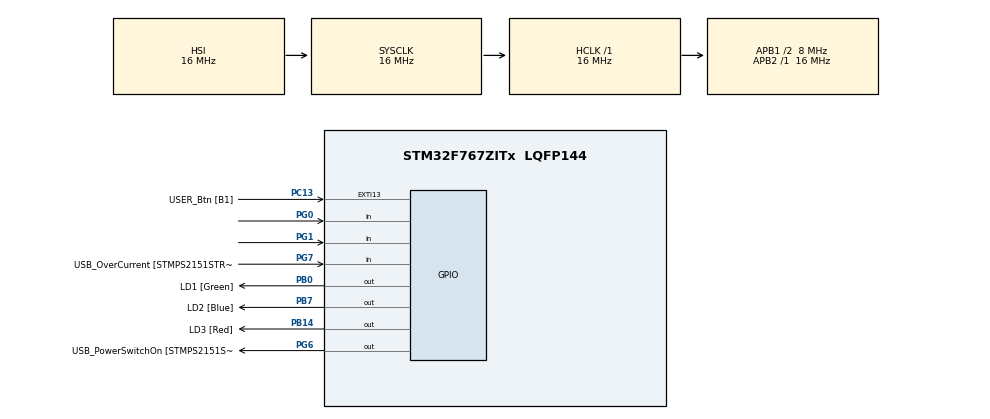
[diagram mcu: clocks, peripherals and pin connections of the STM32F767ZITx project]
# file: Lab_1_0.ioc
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CORTEX_M7.default_mode_Activation=1
Mcu.Family=STM32F7
Mcu.Name=STM32F767ZITx
Mcu.Package=LQFP144
NVIC.PriorityGroup=NVIC_PRIORITYGROUP_4
PA1.GPIO_Label=RMII_REF_CLK [LAN8742A-CZ-TR_REFCLK0]
PA1.Signal=ETH_REF_CLK
PA10.GPIO_Label=USB_ID
PA10.Signal=USB_OTG_FS_ID
PA11.GPIO_Label=USB_DM
PA11.Signal=USB_OTG_FS_DM
PA12.GPIO_Label=USB_DP
PA12.Signal=USB_OTG_FS_DP
PA13.GPIO_Label=TMS
PA13.Signal=SYS_JTMS-SWDIO
PA14.GPIO_Label=TCK
PA14.Signal=SYS_JTCK-SWCLK
PA2.GPIO_Label=RMII_MDIO [LAN8742A-CZ-TR_MDIO]
PA2.Signal=ETH_MDIO
PA7.GPIO_Label=RMII_CRS_DV [LAN8742A-CZ-TR_CRS_DV]
PA7.Signal=ETH_CRS_DV
PA8.GPIO_Label=USB_SOF [TP1]
PA8.Signal=USB_OTG_FS_SOF
PA9.GPIO_Label=USB_VBUS
PA9.Signal=USB_OTG_FS_VBUS
PB0.GPIO_Label=LD1 [Green]
PB0.Signal=GPIO_Output
PB13.GPIO_Label=RMII_TXD1 [LAN8742A-CZ-TR_TXD1]
PB13.Signal=ETH_TXD1
PB14.GPIO_Label=LD3 [Red]
PB14.Signal=GPIO_Output
PB3.GPIO_Label=SW0
PB3.Signal=SYS_JTDO-SWO
PB7.GPIO_Label=LD2 [Blue]
PB7.Signal=GPIO_Output
PC1.GPIO_Label=RMII_MDC [LAN8742A-CZ-TR_MDC]
PC1.Signal=ETH_MDC
PC13.GPIO_Label=USER_Btn [B1]
PC13.Signal=GPXTI13
PC14/OSC32_IN.Signal=RCC_OSC32_IN
PC15/OSC32_OUT.Signal=RCC_OSC32_OUT
PC4.GPIO_Label=RMII_RXD0 [LAN8742A-CZ-TR_RXD0]
PC4.Signal=ETH_RXD0
PC5.GPIO_Label=RMII_RXD1 [LAN8742A-CZ-TR_RXD1]
PC5.Signal=ETH_RXD1
PD8.GPIO_Label=STLK_RX [STM32F103CBT6_PA3]
PD8.Signal=USART3_TX
PD9.GPIO_Label=STLK_TX [STM32F103CBT6_PA2]
PD9.Signal=USART3_RX
PG0.Signal=GPIO_Input
PG1.Signal=GPIO_Input
PG11.GPIO_Label=RMII_TX_EN [LAN8742A-CZ-TR_TXEN]
PG11.Signal=ETH_TX_EN
PG13.GPIO_Label=RMII_TXD0 [LAN8742A-CZ-TR_TXD0]
PG13.Signal=ETH_TXD0
PG6.GPIO_Label=USB_PowerSwitchOn [STMPS2151STR_EN]
PG6.Signal=GPIO_Output
PG7.GPIO_Label=USB_OverCurrent [STMPS2151STR_FAULT]
PG7.Signal=GPIO_Input
PH0/OSC_IN.GPIO_Label=MCO [STM32F103CBT6_PA8]
PH0/OSC_IN.Signal=RCC_OSC_IN
PH1/OSC_OUT.Signal=RCC_OSC_OUT
ProjectManager.HeapSize=0x200
ProjectManager.StackSize=0x400
ProjectManager.TargetToolchain=STM32CubeIDE
RCC.48MHZClocksFreq_Value=24000000
RCC.AHBFreq_Value=16000000
RCC.APB1CLKDivider=RCC_HCLK_DIV2
RCC.APB1Freq_Value=8000000
RCC.APB1TimFreq_Value=16000000
RCC.APB2Freq_Value=16000000
RCC.APB2TimFreq_Value=16000000
RCC.CortexFreq_Value=16000000
RCC.HCLKFreq_Value=16000000
RCC.HSE_VALUE=16000000
RCC.HSI_VALUE=16000000
RCC.LSE_VALUE=32768
RCC.PLLMUL=RCC_PLL_MUL9
RCC.PRESCALERUSB=RCC_USBCLKSOURCE_PLL_DIV1_5
RCC.SYSCLKFreq_VALUE=16000000
RCC.SYSCLKSourceVirtual=RCC_SYSCLKSOURCE_PLLCLK
RCC.USBFreq_Value=96000000
RCC.VCOOutputFreq_Value=192000000
board=NUCLEO-F767ZI

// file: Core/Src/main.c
/* USER CODE BEGIN Header */
/**
  ******************************************************************************
  * @file           : main.c
  * @brief          : Main program body
  ******************************************************************************
  * @attention
  *
  * Copyright (c) 2026 STMicroelectronics.
  * All rights reserved.
  *
  * This software is licensed under terms that can be found in the LICENSE file
  * in the root directory of this software component.
  * If no LICENSE file comes with this software, it is provided AS-IS.
  *
  ******************************************************************************
  */
/* USER CODE END Header */
#include "main.h"

/* USER CODE BEGIN Includes */
#include <stdio.h>
#include <math.h>
/* USER CODE END Includes */

/* USER CODE BEGIN PD */
#define ENC_PORT        GPIOG
#define ENC_PIN_A       GPIO_PIN_0   // A = PG0
#define ENC_PIN_B       GPIO_PIN_1   // B = PG1

#define ENCODER_CPR_4X  80

#define PRINT_PERIOD_MS 20
#define PI_F            3.14159265358979323846f

/* USER CODE END PD */

/* USER CODE BEGIN PV */

volatile uint8_t A = 0;
volatile uint8_t B = 0;

volatile int32_t enc_count4x = 0;   // счётчик по каждому валидному переходу (4x)
volatile int32_t enc_detent  = 0;   // счётчик "щелчков" (детенты)
volatile uint32_t enc_invalid = 0;  // количество невалидных переходов (обычно из-за дребезга)

static uint8_t enc_prev = 0;        // предыдущее состояние AB (2 бита)
static int8_t  enc_accum = 0;       // накопитель до 4 переходов

/* USER CODE END PV */

void SystemClock_Config(void);
static void MPU_Config(void);
static void MX_GPIO_Init(void);

/* USER CODE BEGIN 0 */
static inline uint8_t enc_read_ab(void)
{
  uint32_t idr = ENC_PORT->IDR;
  uint8_t a = (idr & ENC_PIN_A) ? 1u : 0u;
  uint8_t b = (idr & ENC_PIN_B) ? 1u : 0u;
  A = a; B = b;                    // чтобы можно было смотреть в дебаге
  return (uint8_t)((a << 1) | b);  // AB = [A B]
}

static int32_t encoder_angle_mdeg_from_count4x(int32_t count4x)
{
  // миллиградусы (0.001°), чтобы не использовать float
  return (int32_t)((int64_t)count4x * 360000LL / (int64_t)ENCODER_CPR_4X);
}

static void encoder_init(void)
{
  enc_prev = enc_read_ab();
  enc_count4x = 0;
  enc_detent = 0;
  enc_invalid = 0;
  enc_accum = 0;
}

// Таблица переходов (prev<<2 | curr) -> delta
// +1/-1 для валидных соседних переходов, 0 для "нет движения/невалидно"
static inline int8_t enc_delta(uint8_t prev, uint8_t curr)
{
  static const int8_t tbl[16] = {
     0, +1, -1,  0,
    -1,  0,  0, +1,
    +1,  0,  0, -1,
     0, -1, +1,  0
  };
  return tbl[((prev & 0x3u) << 2) | (curr & 0x3u)];
}

static void encoder_on_edge(void)
{
  uint8_t curr = enc_read_ab();
  uint8_t prev = enc_prev;

  if (curr != prev)
  {
    int8_t d = enc_delta(prev, curr);

    if (d != 0)
    {
      enc_count4x += d;

      // “детент” = 4 последовательных валидных перехода
      enc_accum += d;
      if (enc_accum >= 4)  { enc_detent++; enc_accum = 0; }
      if (enc_accum <= -4) { enc_detent--; enc_accum = 0; }
    }
    else
    {
      enc_invalid++;
    }

    enc_prev = curr;
  }
}

// printf -> SWV/ITM (CubeIDE: SWV ITM Data Console)
int _write(int file, char *ptr, int len)
{
  (void)file;
  for (int i = 0; i < len; i++) {
    ITM_SendChar((uint32_t)ptr[i]);
  }
  return len;
}

// HAL callback от EXTI
void HAL_GPIO_EXTI_Callback(uint16_t GPIO_Pin)
{
  if (GPIO_Pin == ENC_PIN_A || GPIO_Pin == ENC_PIN_B) {
    encoder_on_edge();
  }
}

/* USER CODE END 0 */

int main(void)
{

  /* MPU Configuration--------------------------------------------------------*/
  MPU_Config();
  encoder_init();
  /* MCU Configuration--------------------------------------------------------*/

  /* Reset of all peripherals, Initializes the Flash interface and the Systick. */
  HAL_Init();

  /* Configure the system clock */
  SystemClock_Config();

  /* Initialize all configured peripherals */
  MX_GPIO_Init();

  /* Infinite loop */
  while (1)
  {

    /* USER CODE BEGIN 3 */
	static uint32_t last_print = 0;

	uint32_t now = HAL_GetTick();
	if (now - last_print >= PRINT_PERIOD_MS)
	{
	last_print = now;

	int32_t c4, det;
	uint32_t inv;

	__disable_irq();
	c4  = enc_count4x;
	det = enc_detent;
	inv = enc_invalid;
	__enable_irq();

	int32_t ang_mdeg = encoder_angle_mdeg_from_count4x(c4);

	// CSV: time_ms,count4x,detent,angle_mdeg,invalid
	printf("%lu,%ld,%ld,%ld,%lu\r\n",
	       (unsigned long)now, (long)c4, (long)det, (long)ang_mdeg, (unsigned long)inv);

	}

  }
  /* USER CODE END 3 */
}

void SystemClock_Config(void)
{
  RCC_OscInitTypeDef RCC_OscInitStruct = {0};
  RCC_ClkInitTypeDef RCC_ClkInitStruct = {0};

  /** Configure the main internal regulator output voltage
  */
  __HAL_RCC_PWR_CLK_ENABLE();
  __HAL_PWR_VOLTAGESCALING_CONFIG(PWR_REGULATOR_VOLTAGE_SCALE3);

  /** Initializes the RCC Oscillators according to the specified parameters
  * in the RCC_OscInitTypeDef structure.
  */
  RCC_OscInitStruct.OscillatorType = RCC_OSCILLATORTYPE_HSI;
  RCC_OscInitStruct.HSIState = RCC_HSI_ON;
  RCC_OscInitStruct.HSICalibrationValue = RCC_HSICALIBRATION_DEFAULT;
  RCC_OscInitStruct.PLL.PLLState = RCC_PLL_NONE;
  if (HAL_RCC_OscConfig(&RCC_OscInitStruct) != HAL_OK)
  {
    Error_Handler();
  }

  /** Initializes the CPU, AHB and APB buses clocks
  */
  RCC_ClkInitStruct.ClockType = RCC_CLOCKTYPE_HCLK|RCC_CLOCKTYPE_SYSCLK
                              |RCC_CLOCKTYPE_PCLK1|RCC_CLOCKTYPE_PCLK2;
  RCC_ClkInitStruct.SYSCLKSource = RCC_SYSCLKSOURCE_HSI;
  RCC_ClkInitStruct.AHBCLKDivider = RCC_SYSCLK_DIV1;
  RCC_ClkInitStruct.APB1CLKDivider = RCC_HCLK_DIV2;
  RCC_ClkInitStruct.APB2CLKDivider = RCC_HCLK_DIV1;

  if (HAL_RCC_ClockConfig(&RCC_ClkInitStruct, FLASH_LATENCY_0) != HAL_OK)
  {
    Error_Handler();
  }
}

static void MX_GPIO_Init(void)
{
  GPIO_InitTypeDef GPIO_InitStruct = {0};

  /* GPIO Ports Clock Enable */
  __HAL_RCC_GPIOC_CLK_ENABLE();
  __HAL_RCC_GPIOH_CLK_ENABLE();
  __HAL_RCC_GPIOA_CLK_ENABLE();
  __HAL_RCC_GPIOB_CLK_ENABLE();
  __HAL_RCC_GPIOG_CLK_ENABLE();
  __HAL_RCC_GPIOD_CLK_ENABLE();

  /*Configure GPIO pin Output Level */
  HAL_GPIO_WritePin(GPIOB, LD1_Pin|LD3_Pin|LD2_Pin, GPIO_PIN_RESET);

  /*Configure GPIO pin Output Level */
  HAL_GPIO_WritePin(USB_PowerSwitchOn_GPIO_Port, USB_PowerSwitchOn_Pin, GPIO_PIN_RESET);

  /*Configure GPIO pin : USER_Btn_Pin */
  GPIO_InitStruct.Pin = USER_Btn_Pin;
  GPIO_InitStruct.Mode = GPIO_MODE_IT_RISING;
  GPIO_InitStruct.Pull = GPIO_NOPULL;
  HAL_GPIO_Init(USER_Btn_GPIO_Port, &GPIO_InitStruct);

  /*Configure GPIO pins : RMII_MDC_Pin RMII_RXD0_Pin RMII_RXD1_Pin */
  GPIO_InitStruct.Pin = RMII_MDC_Pin|RMII_RXD0_Pin|RMII_RXD1_Pin;
  GPIO_InitStruct.Mode = GPIO_MODE_AF_PP;
  GPIO_InitStruct.Pull = GPIO_NOPULL;
  GPIO_InitStruct.Speed = GPIO_SPEED_FREQ_HIGH;
  GPIO_InitStruct.Alternate = GPIO_AF11_ETH;
  HAL_GPIO_Init(GPIOC, &GPIO_InitStruct);

  /*Configure GPIO pins : RMII_REF_CLK_Pin RMII_MDIO_Pin RMII_CRS_DV_Pin */
  GPIO_InitStruct.Pin = RMII_REF_CLK_Pin|RMII_MDIO_Pin|RMII_CRS_DV_Pin;
  GPIO_InitStruct.Mode = GPIO_MODE_AF_PP;
  GPIO_InitStruct.Pull = GPIO_NOPULL;
  GPIO_InitStruct.Speed = GPIO_SPEED_FREQ_HIGH;
  GPIO_InitStruct.Alternate = GPIO_AF11_ETH;
  HAL_GPIO_Init(GPIOA, &GPIO_InitStruct);

  /*Configure GPIO pins : LD1_Pin LD3_Pin LD2_Pin */
  GPIO_InitStruct.Pin = LD1_Pin|LD3_Pin|LD2_Pin;
  GPIO_InitStruct.Mode = GPIO_MODE_OUTPUT_PP;
  GPIO_InitStruct.Pull = GPIO_NOPULL;
  GPIO_InitStruct.Speed = GPIO_SPEED_FREQ_LOW;
  HAL_GPIO_Init(GPIOB, &GPIO_InitStruct);

  /*Configure GPIO pins : PG0 PG1 USB_OverCurrent_Pin */
  GPIO_InitStruct.Pin = GPIO_PIN_0|GPIO_PIN_1|USB_OverCurrent_Pin;
  GPIO_InitStruct.Mode = GPIO_MODE_INPUT;
  GPIO_InitStruct.Pull = GPIO_NOPULL;
  HAL_GPIO_Init(GPIOG, &GPIO_InitStruct);

  /*Configure GPIO pin : RMII_TXD1_Pin */
  GPIO_InitStruct.Pin = RMII_TXD1_Pin;
  GPIO_InitStruct.Mode = GPIO_MODE_AF_PP;
  GPIO_InitStruct.Pull = GPIO_NOPULL;
  GPIO_InitStruct.Speed = GPIO_SPEED_FREQ_HIGH;
  GPIO_InitStruct.Alternate = GPIO_AF11_ETH;
  HAL_GPIO_Init(RMII_TXD1_GPIO_Port, &GPIO_InitStruct);

  /*Configure GPIO pins : STLK_RX_Pin STLK_TX_Pin */
  GPIO_InitStruct.Pin = STLK_RX_Pin|STLK_TX_Pin;
  GPIO_InitStruct.Mode = GPIO_MODE_AF_PP;
  GPIO_InitStruct.Pull = GPIO_NOPULL;
  GPIO_InitStruct.Speed = GPIO_SPEED_FREQ_VERY_HIGH;
  GPIO_InitStruct.Alternate = GPIO_AF7_USART3;
  HAL_GPIO_Init(GPIOD, &GPIO_InitStruct);

  /*Configure GPIO pin : USB_PowerSwitchOn_Pin */
  GPIO_InitStruct.Pin = USB_PowerSwitchOn_Pin;
  GPIO_InitStruct.Mode = GPIO_MODE_OUTPUT_PP;
  GPIO_InitStruct.Pull = GPIO_NOPULL;
  GPIO_InitStruct.Speed = GPIO_SPEED_FREQ_LOW;
  HAL_GPIO_Init(USB_PowerSwitchOn_GPIO_Port, &GPIO_InitStruct);

  /*Configure GPIO pins : USB_SOF_Pin USB_ID_Pin USB_DM_Pin USB_DP_Pin */
  GPIO_InitStruct.Pin = USB_SOF_Pin|USB_ID_Pin|USB_DM_Pin|USB_DP_Pin;
  GPIO_InitStruct.Mode = GPIO_MODE_AF_PP;
  GPIO_InitStruct.Pull = GPIO_NOPULL;
  GPIO_InitStruct.Speed = GPIO_SPEED_FREQ_VERY_HIGH;
  GPIO_InitStruct.Alternate = GPIO_AF10_OTG_FS;
  HAL_GPIO_Init(GPIOA, &GPIO_InitStruct);

  /*Configure GPIO pin : USB_VBUS_Pin */
  GPIO_InitStruct.Pin = USB_VBUS_Pin;
  GPIO_InitStruct.Mode = GPIO_MODE_INPUT;
  GPIO_InitStruct.Pull = GPIO_NOPULL;
  HAL_GPIO_Init(USB_VBUS_GPIO_Port, &GPIO_InitStruct);

  /*Configure GPIO pins : RMII_TX_EN_Pin RMII_TXD0_Pin */
  GPIO_InitStruct.Pin = RMII_TX_EN_Pin|RMII_TXD0_Pin;
  GPIO_InitStruct.Mode = GPIO_MODE_AF_PP;
  GPIO_InitStruct.Pull = GPIO_NOPULL;
  GPIO_InitStruct.Speed = GPIO_SPEED_FREQ_HIGH;
  GPIO_InitStruct.Alternate = GPIO_AF11_ETH;
  HAL_GPIO_Init(GPIOG, &GPIO_InitStruct);

  /* USER CODE BEGIN MX_GPIO_Init_2 */
  // Перенастроим PG0/PG1 как EXTI по обоим фронтам + pull-up (KY-040 механический)
  GPIO_InitStruct.Pin  = ENC_PIN_A | ENC_PIN_B;
  GPIO_InitStruct.Mode = GPIO_MODE_IT_RISING_FALLING;
  GPIO_InitStruct.Pull = GPIO_PULLUP;
  HAL_GPIO_Init(ENC_PORT, &GPIO_InitStruct);

  // NVIC для EXTI0/EXTI1
  HAL_NVIC_SetPriority(EXTI0_IRQn, 5, 0);
  HAL_NVIC_EnableIRQ(EXTI0_IRQn);
  HAL_NVIC_SetPriority(EXTI1_IRQn, 5, 0);
  HAL_NVIC_EnableIRQ(EXTI1_IRQn);

  /* USER CODE END MX_GPIO_Init_2 */
}

 /* MPU Configuration */

void MPU_Config(void)
{
  MPU_Region_InitTypeDef MPU_InitStruct = {0};

  /* Disables the MPU */
  HAL_MPU_Disable();

  /** Initializes and configures the Region and the memory to be protected
  */
  MPU_InitStruct.Enable = MPU_REGION_ENABLE;
  MPU_InitStruct.Number = MPU_REGION_NUMBER0;
  MPU_InitStruct.BaseAddress = 0x0;
  MPU_InitStruct.Size = MPU_REGION_SIZE_4GB;
  MPU_InitStruct.SubRegionDisable = 0x87;
  MPU_InitStruct.TypeExtField = MPU_TEX_LEVEL0;
  MPU_InitStruct.AccessPermission = MPU_REGION_NO_ACCESS;
  MPU_InitStruct.DisableExec = MPU_INSTRUCTION_ACCESS_DISABLE;
  MPU_InitStruct.IsShareable = MPU_ACCESS_SHAREABLE;
  MPU_InitStruct.IsCacheable = MPU_ACCESS_NOT_CACHEABLE;
  MPU_InitStruct.IsBufferable = MPU_ACCESS_NOT_BUFFERABLE;

  HAL_MPU_ConfigRegion(&MPU_InitStruct);
  /* Enables the MPU */
  HAL_MPU_Enable(MPU_PRIVILEGED_DEFAULT);

}

void Error_Handler(void)
{
  __disable_irq();
  while (1)
  {
  }
}
